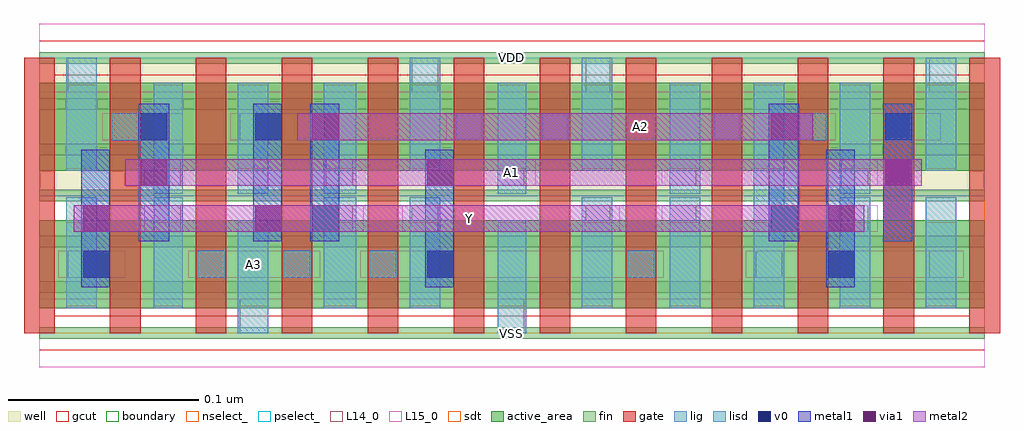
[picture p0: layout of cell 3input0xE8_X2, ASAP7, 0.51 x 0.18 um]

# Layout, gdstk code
import gdstk
lib = gdstk.Library(unit=1e-6, precision=1e-09)
def R(c, l, rs):  # rectangles x0, y0, x1, y1
    for r in rs: c.add(gdstk.rectangle(r[:2], r[2:], *l))
def A(c, l, x, y, w, h, nx, ny, dx, dy):  # array of equal rectangles
    R(c, l, [(x+i*dx, y+j*dy, x+i*dx+w, y+j*dy+h) for i in range(nx) for j in range(ny)])
def P(c, l, *ps):  # polygons
    for p in ps: c.add(gdstk.Polygon(p, *l))
well = (1, 0)
fin = (2, 0)
gate = (7, 0)
gcut = (10, 0)
active_area = (11, 0)
nselect_ = (12, 0)
pselect_ = (13, 0)
L14_0 = (14, 0)
L15_0 = (15, 0)
lig = (16, 0)
lisd = (17, 0)
v0 = (18, 0)
metal1 = (19, 0)
metal2 = (20, 0)
via1 = (21, 0)
sdt = (88, 0)
boundary = (100, 0)

c_3input0xe8_x2 = lib.new_cell('3input0xE8_X2')
R(c_3input0xe8_x2, well, [(0,0.072,0.495,0.144)])
A(c_3input0xe8_x2, fin, 0, -0.003, 0.495, 0.006, 1, 7, 0, 0.024)
A(c_3input0xe8_x2, gate, -0.008, 0, 0.016, 0.144, 12, 1, 0.045, 0)
P(c_3input0xe8_x2, gcut, [(0,-0.009),(0,0),(-0.008,0),(-0.008,0.135),(0.008,0.135),(0.008,0.009),(0.487,0.009),(0.487,0.135),(-0.008,0.135),(-0.008,0.144),(0,0.144),(0,0.153),(0.495,0.153),(0.495,0.144),(0.503,0.144),(0.503,0),(0.495,0),(0.495,-0.009)])
R(c_3input0xe8_x2, active_area, [(0,0.013,0.495,0.059), (0,0.085,0.495,0.131)])
R(c_3input0xe8_x2, nselect_, [(0,0,0.495,0.072)])
R(c_3input0xe8_x2, pselect_, [(0,0.072,0.495,0.144)])
A(c_3input0xe8_x2, L14_0, 0.083, 0.029, 0.014, 0.014, 3, 1, 0.045, 0)
A(c_3input0xe8_x2, L14_0, 0.06, 0.077, 0.014, 0.014, 5, 1, 0.09, 0)
A(c_3input0xe8_x2, L14_0, 0.353, 0.101, 0.014, 0.014, 3, 1, 0.045, 0)
R(c_3input0xe8_x2, L14_0, [(0.105,0,0.12,0.018), (0.24,0,0.254,0.018), (0.015,0.029,0.03,0.043), (0.308,0.029,0.322,0.043), (0.375,0.029,0.389,0.043), (0.466,0.029,0.48,0.043), (0.06,0.053,0.074,0.067), (0.15,0.053,0.164,0.067), (0.195,0.053,0.209,0.067), (0.286,0.053,0.299,0.067), (0.33,0.053,0.344,0.067), (0.42,0.053,0.434,0.067), (0.038,0.101,0.052,0.115), (0.105,0.101,0.12,0.115), (0.218,0.101,0.232,0.115), (0.263,0.101,0.277,0.115), (0.015,0.126,0.03,0.144), (0.195,0.126,0.209,0.144), (0.286,0.126,0.299,0.144), (0.466,0.126,0.48,0.144)])
R(c_3input0xe8_x2, L15_0, [(0,-0.018,0.495,0.018), (0.01,0.029,0.045,0.043), (0.078,0.029,0.147,0.043), (0.168,0.029,0.327,0.043), (0.37,0.029,0.484,0.043), (0.055,0.053,0.17,0.067), (0.19,0.053,0.304,0.067), (0.326,0.053,0.439,0.067), (0.055,0.077,0.26,0.091), (0.326,0.077,0.439,0.091), (0.033,0.101,0.075,0.115), (0.1,0.101,0.135,0.115), (0.213,0.101,0.417,0.115), (0.435,0.101,0.472,0.115), (0,0.126,0.495,0.162)])
A(c_3input0xe8_x2, lig, 0.083, 0.029, 0.014, 0.014, 3, 1, 0.045, 0)
A(c_3input0xe8_x2, lig, 0.353, 0.101, 0.014, 0.014, 3, 1, 0.045, 0)
R(c_3input0xe8_x2, lig, [(0.308,0.029,0.322,0.043), (0.038,0.101,0.052,0.115), (0.218,0.101,0.232,0.115), (0.263,0.101,0.277,0.115)])
R(c_3input0xe8_x2, lisd, [(0.104,0,0.12,0.059), (0.24,0,0.255,0.059), (0.014,0.013,0.03,0.071), (0.06,0.013,0.075,0.071), (0.149,0.013,0.166,0.071), (0.194,0.013,0.21,0.071), (0.284,0.013,0.3,0.071), (0.33,0.013,0.346,0.071), (0.374,0.013,0.39,0.131), (0.419,0.013,0.435,0.071), (0.464,0.013,0.48,0.071), (0.06,0.073,0.075,0.131), (0.104,0.073,0.12,0.131), (0.149,0.073,0.166,0.131), (0.24,0.073,0.255,0.131), (0.33,0.073,0.346,0.131), (0.419,0.073,0.435,0.131), (0.014,0.085,0.03,0.144), (0.194,0.085,0.21,0.144), (0.284,0.085,0.3,0.144), (0.464,0.085,0.48,0.144)])
R(c_3input0xe8_x2, v0, [(0.023,0.029,0.037,0.043), (0.203,0.029,0.217,0.043), (0.413,0.029,0.427,0.043), (0.143,0.053,0.157,0.067), (0.383,0.053,0.397,0.067), (0.053,0.101,0.067,0.115), (0.113,0.101,0.127,0.115), (0.443,0.101,0.457,0.115)])
R(c_3input0xe8_x2, metal1, [(0.022,0.024,0.037,0.096), (0.202,0.024,0.217,0.096), (0.412,0.024,0.427,0.096), (0.052,0.048,0.068,0.12), (0.112,0.048,0.127,0.12), (0.142,0.048,0.157,0.12), (0.382,0.048,0.398,0.12), (0.442,0.048,0.457,0.12)])
R(c_3input0xe8_x2, metal2, [(0.018,0.053,0.432,0.067), (0.045,0.077,0.462,0.091), (0.135,0.101,0.405,0.115)])
R(c_3input0xe8_x2, via1, [(0.023,0.053,0.037,0.067), (0.113,0.053,0.127,0.067), (0.413,0.053,0.427,0.067), (0.053,0.077,0.067,0.091), (0.203,0.077,0.217,0.091), (0.443,0.077,0.457,0.091), (0.143,0.101,0.157,0.115), (0.383,0.101,0.397,0.115)])
A(c_3input0xe8_x2, sdt, 0.014, 0.014, 0.016, 0.044, 4, 2, 0.09, 0.072)
A(c_3input0xe8_x2, sdt, 0.374, 0.014, 0.016, 0.044, 3, 2, 0.045, 0.072)
R(c_3input0xe8_x2, sdt, [(0.06,0.014,0.075,0.058), (0.149,0.014,0.166,0.058), (0.24,0.014,0.255,0.058), (0.33,0.014,0.346,0.058), (0.06,0.086,0.075,0.13), (0.149,0.086,0.166,0.13), (0.24,0.086,0.255,0.13), (0.33,0.086,0.346,0.13)])
R(c_3input0xe8_x2, boundary, [(0,0,0.495,0.144)])
c_3input0xe8_x2.add(gdstk.Label('VSS', (0.247,0), layer=15, texttype=251))
c_3input0xe8_x2.add(gdstk.Label('VDD', (0.247,0.144), layer=15, texttype=251))
c_3input0xe8_x2.add(gdstk.Label('A3', (0.112,0.036), layer=15, texttype=251))
c_3input0xe8_x2.add(gdstk.Label('VSS', (0.247,0), layer=15, texttype=251))
c_3input0xe8_x2.add(gdstk.Label('VDD', (0.247,0.144), layer=15, texttype=251))
c_3input0xe8_x2.add(gdstk.Label('A2', (0.315,0.108), layer=15, texttype=251))
c_3input0xe8_x2.add(gdstk.Label('VSS', (0.247,0), layer=15, texttype=251))
c_3input0xe8_x2.add(gdstk.Label('VDD', (0.247,0.144), layer=15, texttype=251))
c_3input0xe8_x2.add(gdstk.Label('VSS', (0.247,0), layer=15, texttype=251))
c_3input0xe8_x2.add(gdstk.Label('VDD', (0.247,0.144), layer=15, texttype=251))
c_3input0xe8_x2.add(gdstk.Label('A1', (0.247,0.084), layer=20, texttype=251))
c_3input0xe8_x2.add(gdstk.Label('Y', (0.225,0.06), layer=20, texttype=251))
c_3input0xe8_x2.add(gdstk.Label('VSS', (0.247,0), layer=3, texttype=251))
c_3input0xe8_x2.add(gdstk.Label('VSS', (0.247,0), layer=3, texttype=251))
c_3input0xe8_x2.add(gdstk.Label('VSS', (0.247,0), layer=3, texttype=251))
c_3input0xe8_x2.add(gdstk.Label('VSS', (0.247,0), layer=3, texttype=251))
c_3input0xe8_x2.add(gdstk.Label('VDD', (0.247,0.144), layer=1, texttype=251))
c_3input0xe8_x2.add(gdstk.Label('VDD', (0.247,0.144), layer=1, texttype=251))
c_3input0xe8_x2.add(gdstk.Label('VDD', (0.247,0.144), layer=1, texttype=251))
c_3input0xe8_x2.add(gdstk.Label('VDD', (0.247,0.144), layer=1, texttype=251))

lib.write_gds('3input0xE8_X2.gds')
